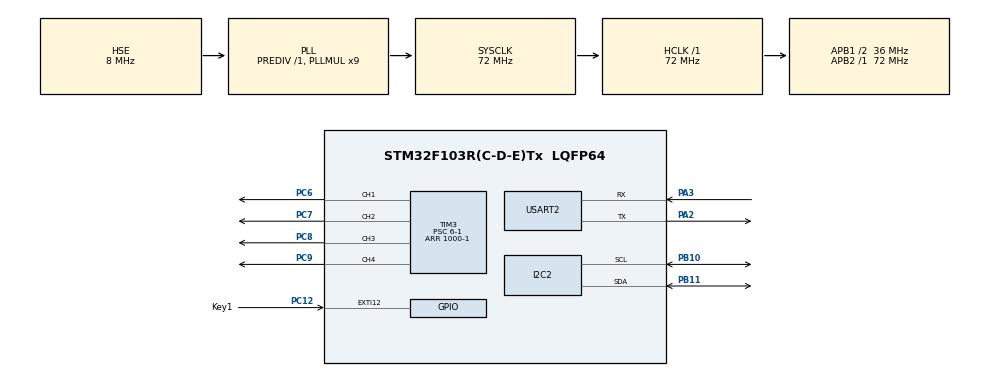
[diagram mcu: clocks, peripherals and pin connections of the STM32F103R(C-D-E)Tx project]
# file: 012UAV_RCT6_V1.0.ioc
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Mcu.Family=STM32F1
Mcu.Name=STM32F103R(C-D-E)Tx
Mcu.Package=LQFP64
NVIC.EXTI15_10_IRQn=true\:14\:0\:true\:false\:true\:true\:true\:true
NVIC.PriorityGroup=NVIC_PRIORITYGROUP_4
NVIC.TIM4_IRQn=true\:15\:0\:true\:false\:true\:true\:true\:true
NVIC.TIM6_IRQn=true\:0\:0\:false\:false\:true\:true\:true\:true
NVIC.USART2_IRQn=true\:2\:0\:true\:false\:true\:true\:true\:true
PA13.Mode=Serial_Wire
PA13.Signal=SYS_JTMS-SWDIO
PA14.Mode=Serial_Wire
PA14.Signal=SYS_JTCK-SWCLK
PA2.Mode=Asynchronous
PA2.Signal=USART2_TX
PA3.Mode=Asynchronous
PA3.Signal=USART2_RX
PB10.Mode=I2C
PB10.Signal=I2C2_SCL
PB11.Mode=I2C
PB11.Signal=I2C2_SDA
PC12.GPIO_Label=Key1
PC12.GPIO_ModeDefaultEXTI=GPIO_MODE_IT_FALLING
PC12.GPIO_PuPd=GPIO_PULLUP
PC12.Signal=GPXTI12
PC14-OSC32_IN.Mode=LSE-External-Oscillator
PC14-OSC32_IN.Signal=RCC_OSC32_IN
PC15-OSC32_OUT.Mode=LSE-External-Oscillator
PC15-OSC32_OUT.Signal=RCC_OSC32_OUT
PC6.Signal=S_TIM3_CH1
PC7.Signal=S_TIM3_CH2
PC8.Signal=S_TIM3_CH3
PC9.Signal=S_TIM3_CH4
PD0-OSC_IN.Mode=HSE-External-Oscillator
PD0-OSC_IN.Signal=RCC_OSC_IN
PD1-OSC_OUT.Mode=HSE-External-Oscillator
PD1-OSC_OUT.Signal=RCC_OSC_OUT
ProjectManager.HeapSize=0x200
ProjectManager.StackSize=0x400
ProjectManager.TargetToolchain=STM32CubeIDE
RCC.AHBFreq_Value=72000000
RCC.APB1CLKDivider=RCC_HCLK_DIV2
RCC.APB1Freq_Value=36000000
RCC.APB1TimFreq_Value=72000000
RCC.APB2Freq_Value=72000000
RCC.APB2TimFreq_Value=72000000
RCC.HCLKFreq_Value=72000000
RCC.PLLMUL=RCC_PLL_MUL9
RCC.PLLSourceVirtual=RCC_PLLSOURCE_HSE
RCC.SYSCLKFreq_VALUE=72000000
RCC.SYSCLKSource=RCC_SYSCLKSOURCE_PLLCLK
RCC.USBFreq_Value=72000000
SH.S_TIM3_CH1.0=TIM3_CH1,PWM Generation1 CH1
SH.S_TIM3_CH2.0=TIM3_CH2,PWM Generation2 CH2
SH.S_TIM3_CH3.0=TIM3_CH3,PWM Generation3 CH3
SH.S_TIM3_CH4.0=TIM3_CH4,PWM Generation4 CH4
TIM3.Channel-PWM\ Generation1\ CH1=TIM_CHANNEL_1
TIM3.Channel-PWM\ Generation2\ CH2=TIM_CHANNEL_2
TIM3.Channel-PWM\ Generation3\ CH3=TIM_CHANNEL_3
TIM3.Channel-PWM\ Generation4\ CH4=TIM_CHANNEL_4
TIM3.Period=1000-1
TIM3.Prescaler=6-1
TIM4.Period=100-1
TIM4.Prescaler=7200-1
TIM6.Period=10000-1
TIM6.Prescaler=7200-1
USART2.VirtualMode=VM_ASYNC
VP_TIM3_VS_ClockSourceINT.Mode=Internal
VP_TIM4_VS_ClockSourceINT.Mode=Internal
VP_TIM6_VS_ClockSourceINT.Mode=Enable_Timer
board=custom

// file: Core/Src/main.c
/* USER CODE BEGIN Header */
/**
  ******************************************************************************
  * @file           : main.c
  * @brief          : Main program body
  ******************************************************************************
  * @attention
  *
  * Copyright (c) 2025 STMicroelectronics.
  * All rights reserved.
  *
  * This software is licensed under terms that can be found in the LICENSE file
  * in the root directory of this software component.
  * If no LICENSE file comes with this software, it is provided AS-IS.
  *
  *
  *
  * 							XPQH CQX LSL 2025.10.20
  *
  *对无用部分进行了删除和精简					 2025.11.3
  *可以看出，截止11.3日，基本功能已经完成，但是程序并不完美，存在一些特殊问题，比如在第二次启动等待期间，电机会似动非动
  ******************************************************************************
  */
/* USER CODE END Header */
#include "main.h"
#include "i2c.h"
#include "tim.h"
#include "usart.h"
#include "gpio.h"

/* USER CODE BEGIN Includes */
#include <stdio.h>
#include <string.h>

#include "MPU6050.h"
#include "pid_study.h"
/* USER CODE END Includes */

/* USER CODE BEGIN PTD */

// 中断PID控制变量(volatile可以防止被编译器优化，全局变量确保在中断和while循环都可用)
volatile float roll_isr, pitch_isr, yaw_isr;
volatile float gyro_x_isr, gyro_y_isr, gyro_z_isr;
volatile uint8_t sensor_data_ready = 0;  // 传感器数据就绪标志
volatile uint8_t pid_calc_done = 0;      // PID计算完成标志

//按键控制第二次起飞启动标志
volatile uint8_t Key1 = 0;

/* USER CODE END PTD */

/* USER CODE BEGIN PV */

 /*——————————————————————————————————————————————————PID调参入口————————————————————————————————————————————————————————————*/
	//串级PID就是:第一级输出, 当作第二级输入用, 二级响应速度尽可能大于一级即可当串级PID
	//角度为第一级 角速度为第二级
	//可选优化：占空比设置最大5000,将调节精度由原来的1/1000 提高到1/5000

#define PX0_OFFSET 0		//预设0 			初始角度补偿，根据实际情况预设，每一个6050的初始偏差都不一样
#define	RY0_OFFSET 0		//预设0

#define GX0_OFFSET 1.4922	//预设+1.4922	同理
#define GY0_OFFSET -0.985	//预设-0.682
#define GZ0_OFFSET -1.4		//预设0

  //								角度	参数
  //KGain代表K增益，也就是我们调的参数
  PID_KpidGain pid_KGain_roll 	= {.Kp = 3.3, .Ki = 0.10, .Kd = 0.02};
  PID_KpidGain pid_KGain_pitch 	= {.Kp = 3.3, .Ki = 0.10, .Kd = 0.02};
  PID_KpidGain pid_KGain_yaw 	= {.Kp = 0, .Ki = 0, .Kd = 0};
  PID_State pid_state_roll, pid_state_pitch, pid_state_yaw;

  //								角速度参数
  PID_KpidGain pid_KGain_GyroY 	= {.Kp = 2.3415926, .Ki = 0.222769, .Kd = 0.0669125};
  PID_KpidGain pid_KGain_GyroX 	= {.Kp = 2.1415926, .Ki = 0.222769, .Kd = 0.0669125};
  PID_KpidGain pid_KGain_GyroZ 	= {.Kp = 2.5, .Ki = 0.1, .Kd = 0.01};
  PID_State pid_state_GyroX, pid_state_GyroY, pid_state_GyroZ;

/*——————————————————————————————————————————————————PID调参结束————————————————————————————————————————————————————————————*/

/* USER CODE END PV */

void SystemClock_Config(void);

int main(void)
{

  /* MCU Configuration--------------------------------------------------------*/

  /* Reset of all peripherals, Initializes the Flash interface and the Systick. */
  HAL_Init();

  /* Configure the system clock */
  SystemClock_Config();

  /* Initialize all configured peripherals */
  MX_GPIO_Init();
  MX_I2C2_Init();
  MX_USART2_UART_Init();
  MX_TIM3_Init();
  MX_TIM4_Init();
  MX_TIM6_Init();
  /* USER CODE BEGIN 2 */

  HAL_Delay(2000);
  int ret = 0;
  do {
	ret = MPU6050_DMP_init();
  } while (ret);

  //初始化PID
  //Y坐标轴 横滚
  PID_Init(&pid_state_roll, 0);
  //X坐标轴 俯仰
  PID_Init(&pid_state_pitch, 0);
  //Z坐标轴
  PID_Init(&pid_state_yaw, 0);

  //角速度反馈初始化
  PID_Init(&pid_state_GyroX, pid_state_pitch.output);
  PID_Init(&pid_state_GyroY, pid_state_roll.output);
  PID_Init(&pid_state_GyroZ, pid_state_yaw.output);

  //启动电机PWM 占空比满载999
  HAL_TIM_PWM_Start(&htim3, TIM_CHANNEL_1);
  HAL_TIM_PWM_Start(&htim3, TIM_CHANNEL_2);
  HAL_TIM_PWM_Start(&htim3, TIM_CHANNEL_3);
  HAL_TIM_PWM_Start(&htim3, TIM_CHANNEL_4);

  //指示灯闪烁 代表6050启动成功
  for(int i = 0; i<3; i++){
	  //指示灯未安装
	  HAL_Delay(1000);

  }

  HAL_TIM_Base_Start_IT(&htim4);

  /* USER CODE END 2 */

  /* Infinite loop */
  /* USER CODE BEGIN WHILE */

  //	横滚	  偏航  俯仰
  float roll, yaw, pitch;
  float gyro_x, gyro_y, gyro_z;
  float accel_x, accel_y, accel_z;

  while (1)
  {
    /* USER CODE END WHILE */

    /* USER CODE BEGIN 3 */

	  //获取角度数据(单位：度)
	  MPU6050_DMP_Get_Date(&roll, &pitch, &yaw);

	  // 获取角速度数据(单位：dps)  2025.10.9 基本成功
	  MPU6050_Get_Gyro(&gyro_x, &gyro_y, &gyro_z);
	  MPU6050_Get_Accel(&accel_x, &accel_y, &accel_z);

	    // 更新中断使用的全局变量,令传感器数据传入中断
	    roll_isr = roll;
	    pitch_isr = pitch;
	    yaw_isr = yaw;
	    gyro_x_isr = gyro_x;
	    gyro_y_isr = gyro_y;
	    gyro_z_isr = gyro_z;
	    sensor_data_ready = 1;  // 设置数据就绪标志

	    //串口调试信息输出,可以使用VOFA+软件查看数据,注意波特率115200 如果不使用，if 0屏蔽掉即可,如果使用if 1打开
#if 0
	    sprintf(message, "%.4f,%.4f\n",gyro_x,gyro_y);
	    HAL_UART_Transmit_IT(&huart2, (uint8_t*)message, strlen(message));
#endif
  }
  /* USER CODE END 3 */
}

void SystemClock_Config(void)
{
  RCC_OscInitTypeDef RCC_OscInitStruct = {0};
  RCC_ClkInitTypeDef RCC_ClkInitStruct = {0};

  /** Initializes the RCC Oscillators according to the specified parameters
  * in the RCC_OscInitTypeDef structure.
  */
  RCC_OscInitStruct.OscillatorType = RCC_OSCILLATORTYPE_HSE;
  RCC_OscInitStruct.HSEState = RCC_HSE_ON;
  RCC_OscInitStruct.HSEPredivValue = RCC_HSE_PREDIV_DIV1;
  RCC_OscInitStruct.HSIState = RCC_HSI_ON;
  RCC_OscInitStruct.PLL.PLLState = RCC_PLL_ON;
  RCC_OscInitStruct.PLL.PLLSource = RCC_PLLSOURCE_HSE;
  RCC_OscInitStruct.PLL.PLLMUL = RCC_PLL_MUL9;
  if (HAL_RCC_OscConfig(&RCC_OscInitStruct) != HAL_OK)
  {
    Error_Handler();
  }

  /** Initializes the CPU, AHB and APB buses clocks
  */
  RCC_ClkInitStruct.ClockType = RCC_CLOCKTYPE_HCLK|RCC_CLOCKTYPE_SYSCLK
                              |RCC_CLOCKTYPE_PCLK1|RCC_CLOCKTYPE_PCLK2;
  RCC_ClkInitStruct.SYSCLKSource = RCC_SYSCLKSOURCE_PLLCLK;
  RCC_ClkInitStruct.AHBCLKDivider = RCC_SYSCLK_DIV1;
  RCC_ClkInitStruct.APB1CLKDivider = RCC_HCLK_DIV2;
  RCC_ClkInitStruct.APB2CLKDivider = RCC_HCLK_DIV1;

  if (HAL_RCC_ClockConfig(&RCC_ClkInitStruct, FLASH_LATENCY_2) != HAL_OK)
  {
    Error_Handler();
  }
}

/* USER CODE BEGIN 4 */

//在定时器里面确保PID更新时间是严格的10ms
void HAL_TIM_PeriodElapsedCallback(TIM_HandleTypeDef *htim){

    if (htim->Instance == TIM4)  // 确认是PID定时器
    {
        static uint32_t pid_counter = 0;
        static uint32_t safety_timer = 0;      // 安全计时器
        static uint8_t safety_triggered = 0;   // 安全触发标志
        pid_counter++;

        // 安全计时：每次中断增加10ms
          safety_timer++;

          // 检查是否触发安全机制（4秒超时）
          if (safety_timer >= 3000) {  // 400 * 10ms = 4秒
              safety_triggered = 1;
          }

          // 如果安全机制已触发，立即停止所有电机并进入死循环
          if (safety_triggered) {
              // 立即停止所有电机
              __HAL_TIM_SET_COMPARE(&htim3, TIM_CHANNEL_1, 0);
              __HAL_TIM_SET_COMPARE(&htim3, TIM_CHANNEL_2, 0);
              __HAL_TIM_SET_COMPARE(&htim3, TIM_CHANNEL_3, 0);
              __HAL_TIM_SET_COMPARE(&htim3, TIM_CHANNEL_4, 0);

              // 死循环 - 系统停止
              while(1) {
                  __HAL_TIM_SET_COMPARE(&htim3, TIM_CHANNEL_1, 0);
                  __HAL_TIM_SET_COMPARE(&htim3, TIM_CHANNEL_2, 0);
                  __HAL_TIM_SET_COMPARE(&htim3, TIM_CHANNEL_3, 0);
                  __HAL_TIM_SET_COMPARE(&htim3, TIM_CHANNEL_4, 0);

              }
          }

          static uint16_t Flight_timer = 0;      	// 飞行时间计数
          Flight_timer++;							//	每次中断增加1,等价于时间加10ms
          static uint16_t FLight_base_pwm = 0;		// 飞行基础PWM值
          static uint8_t Key1_Strat = 0;
          static uint8_t Up2_Start = 0;	//飞向大圆开始标志
        // 检查传感器数据是否就绪
        if (sensor_data_ready && !safety_triggered) {

            // 重置标志
            sensor_data_ready = 0;
/*----------------------------------------飞行逻辑运行段-----------------------------------------------------*/
            //其实不难从角度看出，要控制无人机运动也就控制角度偏的多少，偏多久就可以了，主要还是精度不好控制
            //水平提高之后尽量不用简单if判断	2025.10.20
            //XY由角度控制，Z由角速度控制	注意区分
//            FLight_base_pwm代表每一个状态使用的pwm的大小
#if 1
            static uint16_t	Up_Time 	= 40;	//起步结束时间，150*10ms = 1.5s
			static uint16_t	F1_Time 	= 114;	//第1次前进结束时间 - 起步结束时间 = 前进花费时间,往后以此类推

			static uint16_t	STOP		=700;	//STOP - F1_Time = 按键按下到开始起飞花费时间(预留时间尽量5s以上)
			//程序修改为按键控制之后，STOP可以认为是飞向大圆开始时间

			static uint16_t	Up2_Time 	= 900;	//飞向大圆结束时间825

	        static uint16_t Flight_PWM 	= 670;	//	电机使用的pwm的大小

/*---------注意，改完static uint16_t 	Up2_Time 	= 900;飞向大圆结束时间，还需要修改277行的安全停止时间！！！-----------*/

            //起步
            if (Flight_timer >= 0 && Flight_timer < Up_Time) {

            	//角度
            	pid_state_roll.target 	= 0;
            	pid_state_pitch.target 	= 0;

            	//角速度
            	pid_state_GyroZ.target 	= 0;
            	FLight_base_pwm	= Flight_PWM;

			}

            //第1次前进
            else if (Flight_timer >= Up_Time && Flight_timer < F1_Time){

            	//角度
            	pid_state_roll.target 	= -13;
            	pid_state_pitch.target 	= 0;

            	//角速度
            	pid_state_GyroZ.target 	= 60;
            	FLight_base_pwm	= Flight_PWM;

			}

								/*视觉传感器预留区*/
            else if(Flight_timer >= F1_Time && Flight_timer < STOP && Key1 == 1){

            	Key1_Strat = 1;
            	Up2_Start = 1;	//飞向大圆开始标志

            }

            //第2次前进
            else if (Flight_timer >= STOP && Flight_timer < Up2_Time && Key1_Strat){

            	//角度
            	pid_state_roll.target 	= -5;
            	pid_state_pitch.target 	= -8;

            	//角速度
            	pid_state_GyroZ.target 	= 50;
            	FLight_base_pwm	= Flight_PWM;

			}

#endif

/*----------------------------------------飞行逻辑运行段-----------------------------------------------------*/

            /*========== PID计算核心部分 ==========*/
#if 0
            // 角度环PID - 外环 进行飞行逻辑时，主要控制的就是目标角度，所以当注释
			pid_state_roll.target = 0;
			pid_state_pitch.target = 0;
#endif
            float roll_calib = roll_isr + RY0_OFFSET;
			float pitch_calib = pitch_isr + PX0_OFFSET;
			float yaw_calib = yaw_isr;

			//新增PID死区控制2025.10.21
			//横滚死区
			if (roll_calib > -0.2 && roll_calib < 0.2){

				roll_calib = 0;

			}
			//俯仰死区
			if(pitch_calib > -0.2 && pitch_calib < 0.2){

				pitch_calib = 0;

			}
			//偏航死区
			if(yaw_calib > -0.2 && yaw_calib < 0.2){

				yaw_calib = 0;

			}

            pid_state_roll.actual = roll_calib;
            pid_state_pitch.actual = pitch_calib;

            pid_state_roll = PID_Iterate(pid_KGain_roll, pid_state_roll);
            pid_state_pitch = PID_Iterate(pid_KGain_pitch, pid_state_pitch);

            // 角速度环PID - 内环
            // 将角度环的输出设置为角速度环的目标值
            pid_state_GyroX.target = -pid_state_pitch.output;  // 俯仰角度输出 -> X轴角速度目标
            pid_state_GyroY.target = -pid_state_roll.output;   // 横滚角度输出 -> Y轴角速度目标

#if	0
            //由于进行飞行逻辑时，Z主要控制的就是角速度，所以当注释
            pid_state_GyroZ.target = -pid_state_yaw.output;
#endif
            float gyro_x_calib = gyro_x_isr + GX0_OFFSET;
            float gyro_y_calib = gyro_y_isr + GY0_OFFSET;
            float gyro_z_calib = gyro_z_isr + GZ0_OFFSET;

            //X角速度死区	2025.10.21
            if(gyro_x_calib > -0.2 && gyro_x_calib < 0.2){

            	gyro_x_calib = 0;

			}
            //Y角速度死区
            if(gyro_y_calib > -0.2 && gyro_y_calib < 0.2){
            	gyro_y_calib = 0;
            }
            //Z角速度死区
            if(gyro_z_calib > -0.2 && gyro_z_calib < 0.2){
            	gyro_z_calib = 0;
			}

            pid_state_GyroX.actual = gyro_x_calib;
            pid_state_GyroY.actual = gyro_y_calib;
            pid_state_GyroZ.actual = gyro_z_calib;

            pid_state_GyroX = PID_Iterate(pid_KGain_GyroX, pid_state_GyroX);
            pid_state_GyroY = PID_Iterate(pid_KGain_GyroY, pid_state_GyroY);
            pid_state_GyroZ = PID_Iterate(pid_KGain_GyroZ, pid_state_GyroZ);

      	  /*
      	   * 			  Roll(横滚角)				逆时针为数据正
      	   * 					Y^+					陀螺仪逆时针反而是负
      	   * 					|
      	   * 			FL	 	|	 	FR
      	   * 					|
      	   * 	---------Z(垂直于纸面向外)---------------->X Pitch(俯仰角)
      	   * 					|							+
      	   * 					|
      	   * 			BL		|	 	BR
      	   * 					|
      	   * 		PWM控制区 UAVF22四旋翼无人机
      	   * */

            /*========== PWM输出计算 ==========*/
            int PID_GyroX_OUT = (int)pid_state_GyroX.output;
            int PID_GyroY_OUT = (int)pid_state_GyroY.output;
            int	PID_GyroZ_OUT = (int)pid_state_GyroZ.output;

            uint16_t base_pwm_value = FLight_base_pwm;

            //每一个电机最终由基本PWM值+PID输出值组成
            uint16_t PWM_FL = base_pwm_value + PID_GyroX_OUT + PID_GyroY_OUT + PID_GyroZ_OUT;
            uint16_t PWM_FR = base_pwm_value + PID_GyroX_OUT - PID_GyroY_OUT - PID_GyroZ_OUT;
            uint16_t PWM_BL = base_pwm_value - PID_GyroX_OUT + PID_GyroY_OUT - PID_GyroZ_OUT;
            uint16_t PWM_BR = base_pwm_value - PID_GyroX_OUT - PID_GyroY_OUT + PID_GyroZ_OUT;

            // PWM限幅
            if(PWM_FL > 1000) PWM_FL = 999;
            if(PWM_FL < 0) PWM_FL = 0;
            if(PWM_FR > 1000) PWM_FR = 999;
            if(PWM_FR < 0) PWM_FR = 0;
            if(PWM_BL > 1000) PWM_BL = 999;
            if(PWM_BL < 0) PWM_BL = 0;
            if(PWM_BR > 1000) PWM_BR = 999;
            if(PWM_BR < 0) PWM_BR = 0;

            // 更新PWM输出
            __HAL_TIM_SET_COMPARE(&htim3, TIM_CHANNEL_1, PWM_FL);
            __HAL_TIM_SET_COMPARE(&htim3, TIM_CHANNEL_2, PWM_FR);
            __HAL_TIM_SET_COMPARE(&htim3, TIM_CHANNEL_3, PWM_BR);
            __HAL_TIM_SET_COMPARE(&htim3, TIM_CHANNEL_4, PWM_BL);

            //停止在小圆
            if(Flight_timer >= F1_Time && !Up2_Start){

            	Flight_timer = F1_Time + 1;
                __HAL_TIM_SET_COMPARE(&htim3, TIM_CHANNEL_1, 0);
                __HAL_TIM_SET_COMPARE(&htim3, TIM_CHANNEL_2, 0);
                __HAL_TIM_SET_COMPARE(&htim3, TIM_CHANNEL_3, 0);
                __HAL_TIM_SET_COMPARE(&htim3, TIM_CHANNEL_4, 0);

            }
            if(Flight_timer >= F1_Time && Flight_timer < STOP){

                 __HAL_TIM_SET_COMPARE(&htim3, TIM_CHANNEL_1, 0);
                 __HAL_TIM_SET_COMPARE(&htim3, TIM_CHANNEL_2, 0);
                 __HAL_TIM_SET_COMPARE(&htim3, TIM_CHANNEL_3, 0);
                 __HAL_TIM_SET_COMPARE(&htim3, TIM_CHANNEL_4, 0);

             }

            //结束(停止在大圆)
             if (Flight_timer >= Up2_Time && Up2_Start){

                 __HAL_TIM_SET_COMPARE(&htim3, TIM_CHANNEL_1, 0);
                 __HAL_TIM_SET_COMPARE(&htim3, TIM_CHANNEL_2, 0);
                 __HAL_TIM_SET_COMPARE(&htim3, TIM_CHANNEL_3, 0);
                 __HAL_TIM_SET_COMPARE(&htim3, TIM_CHANNEL_4, 0);

             	while(1){
                     __HAL_TIM_SET_COMPARE(&htim3, TIM_CHANNEL_1, 0);
                     __HAL_TIM_SET_COMPARE(&htim3, TIM_CHANNEL_2, 0);
                     __HAL_TIM_SET_COMPARE(&htim3, TIM_CHANNEL_3, 0);
                     __HAL_TIM_SET_COMPARE(&htim3, TIM_CHANNEL_4, 0);
             	}

 			}
            pid_calc_done = 1;  // 设置计算完成标志

        }

    }
}

/* USER CODE END 4 */

void Error_Handler(void)
{
  __disable_irq();
  while (1)
  {
  }
}
